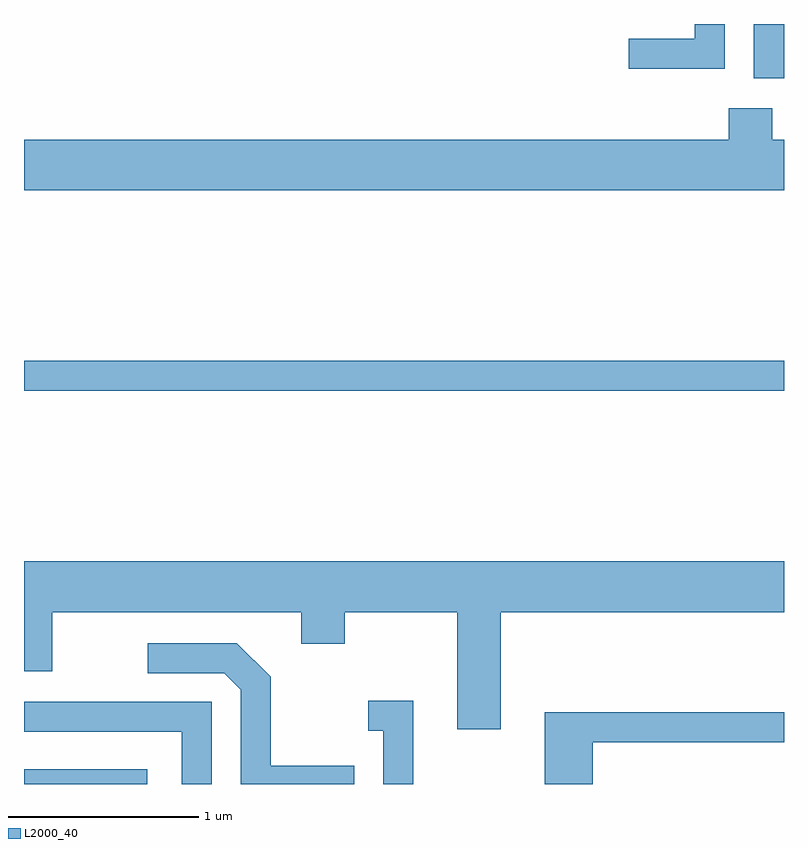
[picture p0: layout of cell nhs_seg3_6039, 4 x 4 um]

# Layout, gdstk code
import gdstk
lib = gdstk.Library(unit=1e-6, precision=1e-09)
def R(c, l, rs):  # rectangles x0, y0, x1, y1
    for r in rs: c.add(gdstk.rectangle(r[:2], r[2:], *l))
def P(c, l, *ps):  # polygons
    for p in ps: c.add(gdstk.Polygon(p, *l))
L2000_40 = (2000, 40)

nhs_seg3_6039 = lib.new_cell('nhs_seg3_6039')
R(nhs_seg3_6039, L2000_40, [(361.611,1233.892,362.259,1233.969), (361.611,1235.961,365.611,1236.119), (365.451,1237.606,365.611,1237.892)])
P(nhs_seg3_6039, L2000_40, [(365.299,1237.892),(365.141,1237.892),(365.141,1237.814),(364.793,1237.814),(364.793,1237.656),(365.299,1237.656)],
  [(365.611,1237.284),(365.549,1237.284),(365.549,1237.449),(365.321,1237.449),(365.321,1237.284),(361.611,1237.284),(361.611,1237.016),(365.611,1237.016)],
  [(364.119,1234.796),(365.611,1234.796),(365.611,1235.064),(361.611,1235.064),(361.611,1234.486),(361.759,1234.486),(361.759,1234.796),(363.071,1234.796),(363.071,1234.631),(363.299,1234.631),(363.299,1234.796),(363.891,1234.796),(363.891,1234.181),(364.119,1234.181)],
  [(363.349,1233.989),(362.909,1233.989),(362.909,1234.457),(362.732,1234.634),(362.263,1234.634),(362.263,1234.476),(362.664,1234.476),(362.751,1234.389),(362.751,1233.892),(363.349,1233.892)],
  [(363.659,1234.329),(363.423,1234.329),(363.423,1234.171),(363.501,1234.171),(363.501,1233.892),(363.659,1233.892)],
  [(362.599,1234.324),(361.611,1234.324),(361.611,1234.166),(362.441,1234.166),(362.441,1233.892),(362.599,1233.892)],
  [(364.604,1234.111),(365.611,1234.111),(365.611,1234.269),(364.351,1234.269),(364.351,1233.892),(364.604,1233.892)])

lib.write_gds('nhs_seg3_6039.gds')
